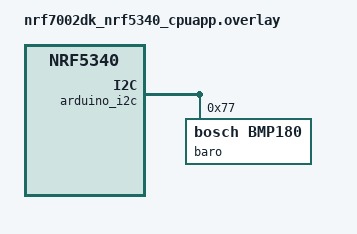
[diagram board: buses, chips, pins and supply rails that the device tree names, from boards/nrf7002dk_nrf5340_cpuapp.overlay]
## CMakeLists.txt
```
# SPDX-FileCopyrightText: 2026 The MCUHome Contributors
# SPDX-License-Identifier: Apache-2.0
#
# MCUHome Matter sample node: upstream CHIP
# v1.5.1.0 as Zephyr module on vanilla Zephyr v4.4.0, nRF7002-DK, two
# runtime-registered endpoints (temperature + pressure, BMP180).
#
# The Matter build glue below — the CHIP_ROOT block, the link-order fix,
# the app-common include and the chip_configure_data_model() call — is
# byte-identical to what `mcuhome build` emits, and tests/python/
# test_generate.py asserts that it stays so. This sample IS a generated
# device (src/mcuhome_config.{c,h} is the codegen fixture), so a build
# mechanism found on the bench must never end up in
# only one of the two files. What legitimately differs is the application
# glue: the sample keeps its own src/main.c, which drives this board's
# LEDs, where a generated application uses the framework's generic main.

cmake_minimum_required(VERSION 3.20.0)

# Matter (CHIP) is a Zephyr module the application registers, not one west
# discovers: upstream connectedhomeip has no zephyr/module.yml at its root,
# only the chip-module subdirectory below. It therefore has to be appended
# to ZEPHYR_EXTRA_MODULES before find_package(Zephyr).
#
# CHIP_ROOT is searched for rather than written out, so this file names no
# path belonging to the machine that generated it and keeps working
# wherever the build tree is moved. What it looks for is the west T2
# workspace layout MCUHome pins (west.yml). Three ways, in order:
#
#   1. -DCHIP_ROOT=... or the CHIP_ROOT environment variable — say it.
#   2. next to ZEPHYR_BASE, when the environment has it. `west build` does
#      NOT export ZEPHYR_BASE, so this is the path for environments that
#      set it deliberately (the MCUHome builder is one).
#   3. upwards from this file, for the normal case of a build directory
#      inside the workspace it is built in.
if(NOT DEFINED CHIP_ROOT)
    if(DEFINED ENV{CHIP_ROOT})
        set(CHIP_ROOT $ENV{CHIP_ROOT})
    elseif(DEFINED ENV{ZEPHYR_BASE})
        get_filename_component(CHIP_ROOT
            "$ENV{ZEPHYR_BASE}/../modules/lib/connectedhomeip" REALPATH)
    else()
        set(_mcuhome_search ${CMAKE_CURRENT_SOURCE_DIR})
        while(NOT DEFINED CHIP_ROOT)
            if(EXISTS "${_mcuhome_search}/modules/lib/connectedhomeip")
                set(CHIP_ROOT "${_mcuhome_search}/modules/lib/connectedhomeip")
            endif()
            get_filename_component(_parent ${_mcuhome_search} DIRECTORY)
            if(_parent STREQUAL _mcuhome_search)
                break()
            endif()
            set(_mcuhome_search ${_parent})
        endwhile()
        unset(_mcuhome_search)
        unset(_parent)
    endif()
endif()

if(NOT EXISTS "${CHIP_ROOT}/config/zephyr/chip-module")
    message(FATAL_ERROR
        "The Matter SDK (connectedhomeip) was not found.\n"
        "Looked for a west workspace containing modules/lib/connectedhomeip, "
        "starting at ${CMAKE_CURRENT_SOURCE_DIR}; CHIP_ROOT resolved to "
        "'${CHIP_ROOT}'.\n"
        "The SDK is in the optional west group `matter`, so a workspace that "
        "was never updated with it has no copy:\n"
        "  west config manifest.group-filter +matter && west update\n"
        "If it lives somewhere else entirely, say so: -DCHIP_ROOT=<path>")
endif()

list(APPEND ZEPHYR_EXTRA_MODULES ${CHIP_ROOT}/config/zephyr/chip-module)

# ccache for the Matter half of the build as well. A build is correct
# without any cache and slow without this one.
# Zephyr finds ccache by itself and sets the global RULE_LAUNCH_COMPILE
# property, but CHIP's inner GN build is a second build system that never
# sees it — without the two lines below, every clean build directory
# recompiles the whole Matter stack from source.
#
# Pigweed's toolchain templates take a compiler launcher as the GN
# argument `pw_command_launcher` (third_party/pigweed/repo/pw_toolchain/
# toolchain_args.gni), and CHIP's chip_gn_args.cmake appends to
# MATTER_GN_ARGS instead of resetting it when it is already set. So
# pre-seeding that variable here — before find_package(Zephyr) brings the
# chip-module in — is the whole mechanism, with no patch to the SDK. The
# `\n`-separated form is the response-file syntax make_gn_args.py reads;
# it must not contain a semicolon, which CMake would turn into a list.
#
# USE_CCACHE=0 is Zephyr's own opt-out and switches off both halves.
if(NOT USE_CCACHE STREQUAL "0")
    find_program(MCUHOME_CCACHE ccache)
    if(MCUHOME_CCACHE)
        set(MATTER_GN_ARGS "--arg-string\npw_command_launcher\nccache\n")
    endif()
endif()

# A build environment that ships the Matter data model already generated
# points CHIP at it with CHIP_CODEGEN_PREGEN_DIR — and CHIP reads that name
# only as a CMake cache variable (build/chip/chip_codegen.cmake), never from
# the environment. The value has to travel in the environment all the same,
# because this file is configured as one image of a sysbuild build and
# sysbuild forwards only the variables it knows by name. So it is put into
# the cache here, before anything includes CHIP's code generation. Without
# it the build generates the data model itself and needs zap, which a build
# environment carrying the pre-generated code has no reason to contain.
if(DEFINED ENV{CHIP_CODEGEN_PREGEN_DIR})
    set(CHIP_CODEGEN_PREGEN_DIR "$ENV{CHIP_CODEGEN_PREGEN_DIR}" CACHE PATH "" FORCE)
endif()

find_package(Zephyr REQUIRED HINTS $ENV{ZEPHYR_BASE})
project(mcuhome-matter-node)

include(${CHIP_ROOT}/src/app/chip_data_model.cmake)

# Link-order fix: the Matter libraries form their own --start/end-group,
# placed after libkernel.a in the final link line, so k_msgq_* references
# from libCHIP.a stay unresolved. Appending the kernel as a *file path*
# (not the target — CMake would dedupe that against the earlier
# occurrence) puts it after the group.
target_link_libraries(chip INTERFACE $<TARGET_FILE:kernel>)

target_include_directories(app PRIVATE
    ${CHIP_ROOT}/zzz_generated/app-common)

# Application glue (plain C — no CHIP headers) plus the generated device
# configuration, which `mcuhome build` produces from
# docs/design/examples/00-bmp180-two-endpoints.yaml and the builder test
# suite compares byte for byte. The Matter runtime itself lives in the
# framework component, not here.
target_sources(app PRIVATE
    src/main.c
    src/mcuhome_config.c)

# Framework-owned data model: endpoint 0 (root node) only — every device
# endpoint is registered at runtime (native composed node).
# ZCL_PATH must be passed explicitly: the zcl.json path stored inside the
# .zap is relative to CHIP's own example directories, so it cannot resolve
# for a .zap that lives outside the CHIP tree (documented escape hatch in
# chip_data_model.cmake). The .matter IDL is inferred from the .zap name.
chip_configure_data_model(app
    ZAP_FILE ${ZEPHYR_MCUHOME_MODULE_DIR}/components/matter/zap/mcuhome-root.zap
    ZCL_PATH ${CHIP_ROOT}/src/app/zap-templates/zcl/zcl.json
)
```

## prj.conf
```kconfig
# SPDX-FileCopyrightText: 2026 The MCUHome Contributors
# SPDX-License-Identifier: Apache-2.0
#
# ============================================================================
# BUILD THIS SAMPLE WITH:  -S matter -S debug-rtt
#
#   west build -p -b nrf7002dk/nrf5340/cpuapp -S matter -S debug-rtt \
#       mcuhome/samples/matter-node
#
# The snippets carry the numeric/choice values the Matter stack needs (heap
# and stack sizing, mbedTLS acceleration, libc choice) and the RTT log
# transport. Building WITHOUT them is refused at CMake configure time by
# components/matter/CMakeLists.txt (with BUILD_ASSERTs in
# components/matter/src/matter_init.cpp as the backstop) — without that
# guard the image compiles fine and dies at runtime, pre-main or during
# PASE, with no console to say why.
# ============================================================================

# MCUHome framework: components/matter/Kconfig owns the Matter wiring
# (PSA_WANT_* selects, NET_CONTEXT_RECV_PKTINFO, OPENTHREAD_SLAAC, the
# PICOLIBC dependency and the Thread role choice), so none of that is
# repeated here.
CONFIG_MCUHOME=y
CONFIG_MCUHOME_MATTER=y

# The health foundation (lib/health/: reboot on fatal error, hardware
# watchdog, crash breadcrumb, image self-confirmation). Stated rather than
# left to the Kconfig defaults, for the same reason the generated
# prj.conf states it (mcuhome/generate.py): MCUHome's health design
# makes these mandatory for every application image, and a guarantee that
# rests on an unstated default is one board defconfig away from silently
# disappearing. The watchdog needs the watchdog0 alias, which the board
# overlay next to this file adds.
CONFIG_MCUHOME_HEALTH=y
CONFIG_MCUHOME_RESET_ON_FATAL_ERROR=y
CONFIG_MCUHOME_WATCHDOG=y
CONFIG_MCUHOME_CRASH_BREADCRUMB=y
#
# Matter OTA is deliberately NOT enabled. This sample is built as a single
# image without MCUboot, so it has no partition table and no staging slot
# to download into; enabling CONFIG_MCUHOME_MATTER_OTA here would fail the
# build on a missing slot1_partition, correctly. Over-the-air update is a
# property of the board's update scheme in mcuhome/registry.py and appears
# in applications the builder generates, which are sysbuild builds with
# a bootloader.

# Channel layer: the generic sensor adapter that feeds both endpoints.
# The chip driver itself is not enabled here — CONFIG_BMP180 defaults to y
# from the devicetree node in the board overlay, which is the rule the
# builder will follow too (hardware in DTS, never in Kconfig).
CONFIG_SENSOR=y
CONFIG_MCUHOME_SENSOR=y

CONFIG_CHIP=y
CONFIG_STD_CPP17=y

# Test vendor/product identity (Matter test VID space)
CONFIG_CHIP_DEVICE_PRODUCT_ID=32768

# Open the commissioning window automatically on boot
CONFIG_CHIP_ENABLE_PAIRING_AUTOSTART=y

# Thread
CONFIG_NET_L2_OPENTHREAD=y

# Crypto: mbedTLS 4 provides the PSA API (tf-psa-crypto core)
CONFIG_MBEDTLS=y
CONFIG_MBEDTLS_PSA_CRYPTO_C=y

# Project config: dynamic endpoint slots (see include/CHIPProjectConfig.h)
CONFIG_CHIP_PROJECT_CONFIG="include/CHIPProjectConfig.h"
```

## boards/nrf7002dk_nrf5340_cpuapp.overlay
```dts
/*
 * SPDX-FileCopyrightText: 2026 The MCUHome Contributors
 * SPDX-License-Identifier: Apache-2.0
 */

/* Entropy: the nRF5340 application core has no RNG peripheral. The board
 * default points `zephyr,entropy` at the Bluetooth HCI entropy driver
 * (`&rng_hci`, see dts/arm/nordic/nrf5340_cpuapp.dtsi), which is dead
 * weight here — this node is Thread-only and Bluetooth is off.
 * Redirect to the IPC driver, which seeds a CTR-DRBG from the
 * network core's real RNG over a second endpoint on `ipc0` — the same
 * instance the 802.15.4 spinel channel already uses. The network core
 * must run mcuhome/samples/netcore-radio for this to bind.
 */
/ {
	netcore_entropy: netcore-entropy {
		compatible = "mcuhome,entropy-ipc";
		ipc = <&ipc0>;
		status = "okay";
	};

	chosen {
		zephyr,entropy = &netcore_entropy;
	};

	/* Watchdog: MCUHome's health design makes one mandatory for every
	 * application image, and lib/health/ finds it through the watchdog0
	 * alias — the Zephyr convention, which this board's own devicetree
	 * does not define even though the SoC has the peripheral. Board
	 * wiring, exactly like the entropy redirection above, and exactly
	 * what mcuhome/registry.py emits into a generated application's
	 * overlay. Without it the build stops and names the alias.
	 */
	aliases {
		watchdog0 = &wdt0;
	};
};

/* Bosch BMP180 on the DK's Arduino-header I2C bus.
 *
 * The node label is `baro`, not `bmp180`, because that is the peripheral's
 * name in the device configuration this sample mirrors
 * (docs/design/examples/00-bmp180-two-endpoints.yaml, hardware.peripherals)
 * and therefore the label the generated tables reference. This block is
 * exactly what the builder's overlay generator emits; the entropy node
 * above is board wiring the generator does not own.
 *
 * `arduino_i2c` is the board's own label for i2c1
 * (zephyr/boards/nordic/nrf7002dk/nrf5340_cpuapp_common.dtsi); the
 * i2c1_default pinctrl group puts TWIM_SDA on P1.02 and TWIM_SCL on P1.03,
 * which the board's arduino_header gpio-map exposes as D14 and D15 — the
 * dedicated SDA/SCL pins of the Arduino UNO R3 shield header. A4/A5 are
 * NOT on this bus on the nRF7002-DK: they map to P0.25/P0.26 and are plain
 * GPIO/ADC inputs. The physical wiring is spelled out in the sample README.
 *
 * The BMP180's I2C address is fixed at 0x77 in silicon — the chip has no
 * address-select pin, so this is the only possible reg value.
 *
 * osr-press = 1 ("standard", 2 samples, ~7.5 ms conversion). The datasheet
 * quotes ~0.06 hPa RMS noise even in ultra-low-power mode, an order of
 * magnitude below this endpoint's 1 hPa quantization, so the higher
 * oversampling modes would buy resolution the Matter attribute cannot
 * carry and pay for it in conversion time — which on a sleepy end device
 * is radio-off time spent awake.
 */
&arduino_i2c {
	status = "okay";

	baro: baro@77 {
		compatible = "bosch,bmp180";
		reg = <0x77>;
		osr-press = <1>;
		status = "okay";
	};
};
```

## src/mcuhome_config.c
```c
/*
 * SPDX-FileCopyrightText: 2026 The MCUHome Contributors
 * SPDX-License-Identifier: Apache-2.0
 *
 * Generated by mcuhome from 00-bmp180-two-endpoints.yaml — do not edit.
 *
 * Device "bmp180-node" (BMP180 Two-Endpoint Node) for nrf7002dk/nrf5340/cpuapp.
 *
 * The Matter data model of this device as plain-C tables (<mcuhome/matter_tables.h>), plus the
 * sensor bindings that feed them (<mcuhome/channel.h>). Dumb, reviewable, diffable data: one node
 * symbol, zero CHIP includes, zero logic. All behavior lives in the framework, which interprets
 * what is below.
 *
 * The Descriptor cluster and the global attributes FeatureMap (0xFFFC) and ClusterRevision (0xFFFD)
 * are deliberately absent: the framework appends the first and serves the other two from the
 * cluster fields below.
 *
 * An attribute with store == NULL is a constant: the framework always serves its def value and a
 * controller can never write it. That is how fixed cluster metadata such as MinMeasuredValue /
 * MaxMeasuredValue is expressed without spending RAM on it. Their values state the sensor's own
 * operating range, which a controller uses to size gauges and to sanity-check readings.
 *
 * REVISION SOURCING. Every cluster and device-type revision below comes from CHIP's own
 * implementation data model — cluster revisions from the per-cluster XML under
 * src/app/zap-templates/zcl/data-model/chip, device-type revisions from the matter-devices.xml next
 * to it — because that is what CHIP-based nodes report in the field. The specification scrape
 * shipped alongside it runs ahead of those numbers; they are what a future SDK release grows into,
 * not what its code implements today.
 */

#include <zephyr/sys/util.h>

#include <mcuhome/channel.h>
#include <mcuhome/matter_tables.h>

#include "mcuhome_config.h"

/* RAM cells behind the value-carrying attributes. A cell belongs to whoever produces the value —
 * the channel layer publishes into it, the tables below only point at it. */
static struct mcuhome_attr_store ep1_temperature_measurement_measured_value;
static struct mcuhome_attr_store ep2_pressure_measurement_measured_value;

/* --- endpoint 1 "temperature": temperature_sensor --------------------- */

static const struct mcuhome_matter_attr ep1_temperature_measurement_attrs[] = {
	{
		/* measured_value: nullable per the Matter specification — until a value has been
		 * published this attribute reports null, not a plausible 0.00 °C. */
		.id = 0x0000,
		.type = MCUHOME_ATTR_TYPE_INT16S,
		.size = 2,
		.flags = MCUHOME_ATTR_F_NULLABLE,
		.store = &ep1_temperature_measurement_measured_value,
		.def = 0,
	},
	{
		/* min_measured_value: constant (store == NULL), -40.00 °C. */
		.id = 0x0001,
		.type = MCUHOME_ATTR_TYPE_INT16S,
		.size = 2,
		.flags = 0,
		.store = NULL,
		.def = -4000,
	},
	{
		/* max_measured_value: constant (store == NULL), 85.00 °C. */
		.id = 0x0002,
		.type = MCUHOME_ATTR_TYPE_INT16S,
		.size = 2,
		.flags = 0,
		.store = NULL,
		.def = 8500,
	},
};

static const struct mcuhome_matter_cluster ep1_clusters[] = {
	{
		.id = 0x0402, /* temperature_measurement */
		.feature_map = 0x00000000,
		/* ClusterRevision 4 — see the revision-sourcing note at the top of this file. */
		.cluster_revision = 4,
		.attrs = ep1_temperature_measurement_attrs,
		.attr_count = ARRAY_SIZE(ep1_temperature_measurement_attrs),
	},
};

static const struct mcuhome_matter_device_type ep1_device_types[] = {
	{
		.id = 0x0302, /* temperature_sensor */
		.revision = 3,
	},
};

/* --- endpoint 2 "pressure": pressure_sensor --------------------------- */

static const struct mcuhome_matter_attr ep2_pressure_measurement_attrs[] = {
	{
		/* measured_value: nullable per the Matter specification — until a value has been
		 * published this attribute reports null, not a plausible 0 hPa. */
		.id = 0x0000,
		.type = MCUHOME_ATTR_TYPE_INT16S,
		.size = 2,
		.flags = MCUHOME_ATTR_F_NULLABLE,
		.store = &ep2_pressure_measurement_measured_value,
		.def = 0,
	},
	{
		/* min_measured_value: constant (store == NULL), 300 hPa. */
		.id = 0x0001,
		.type = MCUHOME_ATTR_TYPE_INT16S,
		.size = 2,
		.flags = 0,
		.store = NULL,
		.def = 300,
	},
	{
		/* max_measured_value: constant (store == NULL), 1100 hPa. */
		.id = 0x0002,
		.type = MCUHOME_ATTR_TYPE_INT16S,
		.size = 2,
		.flags = 0,
		.store = NULL,
		.def = 1100,
	},
};

static const struct mcuhome_matter_cluster ep2_clusters[] = {
	{
		.id = 0x0403, /* pressure_measurement */
		.feature_map = 0x00000000,
		/* ClusterRevision 3 — see the revision-sourcing note at the top of this file. */
		.cluster_revision = 3,
		.attrs = ep2_pressure_measurement_attrs,
		.attr_count = ARRAY_SIZE(ep2_pressure_measurement_attrs),
	},
};

static const struct mcuhome_matter_device_type ep2_device_types[] = {
	{
		.id = 0x0305, /* pressure_sensor */
		.revision = 2,
	},
};

/* --- the node --------------------------------------------------------- */

static const struct mcuhome_matter_endpoint endpoints[] = {
	{
		.endpoint_id = 1,
		.parent_id = 0, /* directly under the root node */
		.device_types = ep1_device_types,
		.device_type_count = ARRAY_SIZE(ep1_device_types),
		.clusters = ep1_clusters,
		.cluster_count = ARRAY_SIZE(ep1_clusters),
	},
	{
		.endpoint_id = 2,
		.parent_id = 0, /* directly under the root node */
		.device_types = ep2_device_types,
		.device_type_count = ARRAY_SIZE(ep2_device_types),
		.clusters = ep2_clusters,
		.cluster_count = ARRAY_SIZE(ep2_clusters),
	},
};

const struct mcuhome_matter_node mcuhome_node_config = {
	.tables_version = MCUHOME_MATTER_TABLES_VERSION,
	.endpoints = endpoints,
	.endpoint_count = ARRAY_SIZE(endpoints),
};

/* --- channels: sensor readings bound to attributes -------------------- */

/* Everything in a channel is in the attribute's own raw unit, never the sensor's; the binding below
 * holds the integer scale between the two. A converted sample is published when it differs from the
 * last published one by at least report_delta. */

static const struct mcuhome_channel ep1_temperature_measurement_channel = {
	.store = &ep1_temperature_measurement_measured_value,
	.type = MCUHOME_ATTR_TYPE_INT16S,
	.endpoint_id = 1,
	.cluster_id = 0x0402,
	.attr_id = 0x0000,
	.sample_period_ms = 10000,
	/* 0.10 °C in the attribute's raw units. */
	.report_delta = 10,
};

static const struct mcuhome_channel ep2_pressure_measurement_channel = {
	.store = &ep2_pressure_measurement_measured_value,
	.type = MCUHOME_ATTR_TYPE_INT16S,
	.endpoint_id = 2,
	.cluster_id = 0x0403,
	.attr_id = 0x0000,
	.sample_period_ms = 10000,
	/* 1 hPa in the attribute's raw units. */
	.report_delta = 1,
};

/* Bindings that share a device and fall due in the same cycle fetch once, not once each — which is
 * what makes a multi-quantity chip cost one conversion per cycle instead of one per reading. */
const struct mcuhome_sensor_binding mcuhome_sensor_bindings[] = {
	{
		.dev = DEVICE_DT_GET(DT_NODELABEL(baro)),
		.fetch_channel = SENSOR_CHAN_ALL,
		.zephyr_channel = SENSOR_CHAN_DIE_TEMP,
		/* Zephyr's sensor unit -> the attribute's raw unit. */
		.scale_num = 100,
		.scale_den = 1,
		.offset = 0,
		.channel = &ep1_temperature_measurement_channel,
	},
	{
		.dev = DEVICE_DT_GET(DT_NODELABEL(baro)),
		.fetch_channel = SENSOR_CHAN_ALL,
		.zephyr_channel = SENSOR_CHAN_PRESS,
		/* Zephyr's sensor unit -> the attribute's raw unit. */
		.scale_num = 10,
		.scale_den = 1,
		.offset = 0,
		.channel = &ep2_pressure_measurement_channel,
	},
};

const size_t mcuhome_sensor_binding_count = ARRAY_SIZE(mcuhome_sensor_bindings);
```
